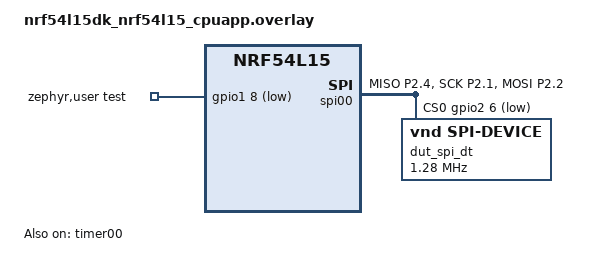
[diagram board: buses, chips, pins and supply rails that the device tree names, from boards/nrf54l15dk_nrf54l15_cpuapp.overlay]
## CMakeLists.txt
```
#
# Copyright (c) 2025 Nordic Semiconductor ASA
#
# SPDX-License-Identifier: LicenseRef-Nordic-5-Clause
#

cmake_minimum_required(VERSION 3.20.0)

find_package(Zephyr REQUIRED HINTS $ENV{ZEPHYR_BASE})

project(spim_mosi_toggles)

target_sources(app PRIVATE src/main.c)
```

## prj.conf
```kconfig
CONFIG_SPI=y
CONFIG_GPIO=y
CONFIG_NRFX_GPPI=y
CONFIG_NRFX_TIMER=y
CONFIG_LOG=y
```

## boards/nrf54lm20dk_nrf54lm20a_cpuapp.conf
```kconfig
CONFIG_NRFX_TIMER00=y
```

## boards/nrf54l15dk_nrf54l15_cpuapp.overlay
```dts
/*
 * Copyright (c) 2025 Nordic Semiconductor ASA
 *
 * SPDX-License-Identifier: LicenseRef-Nordic-5-Clause
 */

/* Test requires wire connection:
 *  - SPIM_MOSI with test-gpios -> P2.2 - P1.8.
 */

/ {
	zephyr,user {
		test-gpios = <&gpio1 8 GPIO_ACTIVE_LOW>;
	};
};

&pinctrl {
	spi00_default_alt: spi00_default_alt {
		group1 {
			psels = <NRF_PSEL(SPIM_MISO, 2, 4)>;
		};

		group2 {
			psels = <NRF_PSEL(SPIM_SCK, 2, 1)>,
				<NRF_PSEL(SPIM_MOSI, 2, 2)>;
			nordic,drive-mode = <NRF_DRIVE_E0E1>;
		};
	};

	spi00_sleep_alt: spi00_sleep_alt {
		group1 {
			psels = <NRF_PSEL(SPIM_SCK, 2, 1)>,
				<NRF_PSEL(SPIM_MISO, 2, 4)>,
				<NRF_PSEL(SPIM_MOSI, 2, 2)>;
			low-power-enable;
		};
	};
};

&gpio1 {
	status = "okay";
};

&gpio2 {
	status = "okay";
};

&timer00 {
	status = "okay";
};

/delete-node/ &mx25r64;

&spi00 {
	status = "okay";
	pinctrl-0 = <&spi00_default_alt>;
	pinctrl-1 = <&spi00_sleep_alt>;
	pinctrl-names = "default", "sleep";
	overrun-character = <0x00>;
	cs-gpios = <&gpio2 6 GPIO_ACTIVE_LOW>;
	zephyr,pm-device-runtime-auto;

	dut_spi_dt: test-spi-dev@0 {
		compatible = "vnd,spi-device";
		reg = <0>;
		spi-max-frequency = <1280000>;
	};
};
```

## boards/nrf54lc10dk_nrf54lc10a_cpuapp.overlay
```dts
/*
 * Copyright (c) 2026 Nordic Semiconductor ASA
 *
 * SPDX-License-Identifier: LicenseRef-Nordic-5-Clause
 */

/* Test requires wire connection:
 *  - SPIM_MOSI with test-gpios -> P1.03 - P1.04.
 * (Pins chosen to avoid DK buttons and LEDs on nRF54LC10 DK.)
 */

/ {
	zephyr,user {
		test-gpios = <&gpio1 0 GPIO_ACTIVE_LOW>;
	};
};

&pinctrl {
	spi21_default: spi21_default {
		group1 {
			psels = <NRF_PSEL(SPIM_SCK, 1, 11)>,
				<NRF_PSEL(SPIM_MISO, 1, 8)>,
				<NRF_PSEL(SPIM_MOSI, 1, 1)>;
		};
	};

	spi21_sleep: spi21_sleep {
		group1 {
			psels = <NRF_PSEL(SPIM_SCK, 1, 11)>,
				<NRF_PSEL(SPIM_MISO, 1, 8)>,
				<NRF_PSEL(SPIM_MOSI, 1, 1)>;
			low-power-enable;
		};
	};
};

&gpio1 {
	status = "okay";
};

&timer00 {
	status = "okay";
};

&spi21 {
	status = "okay";
	pinctrl-0 = <&spi21_default>;
	pinctrl-1 = <&spi21_sleep>;
	pinctrl-names = "default", "sleep";
	overrun-character = <0x00>;
	cs-gpios = <&gpio1 2 GPIO_ACTIVE_LOW>;
	zephyr,pm-device-runtime-auto;

	dut_spi_dt: test-spi-dev@0 {
		compatible = "vnd,spi-device";
		reg = <0>;
		spi-max-frequency = <DT_FREQ_M(1)>;
	};
};
```

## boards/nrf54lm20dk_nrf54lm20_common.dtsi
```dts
/*
 * Copyright (c) 2026 Nordic Semiconductor ASA
 *
 * SPDX-License-Identifier: LicenseRef-Nordic-5-Clause
 */

/* Test requires wire connection:
 *  - SPIM_MOSI with test-gpios -> P2.8 - P3.0.
 *  - Disable External Memory in NRF Connect for Desktop -> Board Configurator
 */

/ {
	zephyr,user {
		test-gpios = <&gpio3 0 GPIO_ACTIVE_LOW>;
	};
};

&pinctrl {
	spi00_default_alt: spi00_default_alt {
		group1 {
			psels = <NRF_PSEL(SPIM_MISO, 2, 4)>;
		};

		group2 {
			psels = <NRF_PSEL(SPIM_SCK, 2, 1)>,
				<NRF_PSEL(SPIM_MOSI, 2, 8)>;
			nordic,drive-mode = <NRF_DRIVE_E0E1>;
		};
	};

	spi00_sleep_alt: spi00_sleep_alt {
		group1 {
			psels = <NRF_PSEL(SPIM_SCK, 2, 1)>,
				<NRF_PSEL(SPIM_MISO, 2, 4)>,
				<NRF_PSEL(SPIM_MOSI, 2, 8)>;
			low-power-enable;
		};
	};
};

&gpio2 {
	status = "okay";
};

&gpio3 {
	status = "okay";
};

&timer00 {
	status = "okay";
};

/delete-node/ &mx25r64;

&spi00 {
	status = "okay";
	pinctrl-0 = <&spi00_default_alt>;
	pinctrl-1 = <&spi00_sleep_alt>;
	pinctrl-names = "default", "sleep";
	overrun-character = <0x00>;
	cs-gpios = <&gpio2 6 GPIO_ACTIVE_LOW>;
	zephyr,pm-device-runtime-auto;

	dut_spi_dt: test-spi-dev@0 {
		compatible = "vnd,spi-device";
		reg = <0>;
		spi-max-frequency = <1280000>;
	};
};
```

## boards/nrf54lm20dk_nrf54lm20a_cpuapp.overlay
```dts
/*
 * Copyright (c) 2025 Nordic Semiconductor ASA
 *
 * SPDX-License-Identifier: LicenseRef-Nordic-5-Clause
 */

/* Test requires wire connection:
 *  - SPIM_MOSI with test-gpios -> P2.2 - P1.8.
 *  - Disable External Memory in NRF Connect for Desktop -> Board Configurator
 */

/ {
	zephyr,user {
		test-gpios = <&gpio1 8 GPIO_ACTIVE_LOW>;
	};
};

&pinctrl {
	spi00_default_alt: spi00_default_alt {
		group1 {
			psels = <NRF_PSEL(SPIM_MISO, 2, 4)>;
		};

		group2 {
			psels = <NRF_PSEL(SPIM_SCK, 2, 1)>,
				<NRF_PSEL(SPIM_MOSI, 2, 2)>;
			nordic,drive-mode = <NRF_DRIVE_E0E1>;
		};
	};

	spi00_sleep_alt: spi00_sleep_alt {
		group1 {
			psels = <NRF_PSEL(SPIM_SCK, 2, 1)>,
				<NRF_PSEL(SPIM_MISO, 2, 4)>,
				<NRF_PSEL(SPIM_MOSI, 2, 2)>;
			low-power-enable;
		};
	};
};

&gpio1 {
	status = "okay";
};

&gpio2 {
	status = "okay";
};

&timer00 {
	status = "okay";
};

/delete-node/ &mx25r64;

&spi00 {
	status = "okay";
	pinctrl-0 = <&spi00_default_alt>;
	pinctrl-1 = <&spi00_sleep_alt>;
	pinctrl-names = "default", "sleep";
	overrun-character = <0x00>;
	cs-gpios = <&gpio2 6 GPIO_ACTIVE_LOW>;
	zephyr,pm-device-runtime-auto;

	dut_spi_dt: test-spi-dev@0 {
		compatible = "vnd,spi-device";
		reg = <0>;
		spi-max-frequency = <1280000>;
	};
};
```

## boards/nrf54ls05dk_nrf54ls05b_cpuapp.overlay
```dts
/*
 * Copyright (c) 2025 Nordic Semiconductor ASA
 *
 * SPDX-License-Identifier: LicenseRef-Nordic-5-Clause
 */

/* Test requires wire connection:
 *  - SPIM_MOSI with test-gpios -> P1.06 - P1.22.
 */

/ {
	zephyr,user {
		test-gpios = <&gpio1 22 GPIO_ACTIVE_LOW>;
	};
};

&pinctrl {
	spi21_default: spi21_default {
		group1 {
			psels = <NRF_PSEL(SPIM_SCK, 1, 4)>,
				<NRF_PSEL(SPIM_MISO, 1, 5)>,
				<NRF_PSEL(SPIM_MOSI, 1, 6)>;
		};
	};

	spi21_sleep: spi21_sleep {
		group1 {
			psels = <NRF_PSEL(SPIM_SCK, 1, 4)>,
				<NRF_PSEL(SPIM_MISO, 1, 5)>,
				<NRF_PSEL(SPIM_MOSI, 1, 6)>;
			low-power-enable;
		};
	};
};

&gpio1 {
	status = "okay";
};

&timer00 {
	status = "okay";
};

&spi21 {
	status = "okay";
	pinctrl-0 = <&spi21_default>;
	pinctrl-1 = <&spi21_sleep>;
	pinctrl-names = "default", "sleep";
	overrun-character = <0x00>;
	cs-gpios = <&gpio1 8 GPIO_ACTIVE_LOW>;
	zephyr,pm-device-runtime-auto;

	dut_spi_dt: test-spi-dev@0 {
		compatible = "vnd,spi-device";
		reg = <0>;
		spi-max-frequency = <DT_FREQ_M(1)>;
	};
};
```

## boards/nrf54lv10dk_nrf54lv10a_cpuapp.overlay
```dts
/*
 * Copyright (c) 2025 Nordic Semiconductor ASA
 *
 * SPDX-License-Identifier: LicenseRef-Nordic-5-Clause
 */

/* Test requires wire connection:
 *  - SPIM_MOSI with test-gpios -> P1.0 - P1.1.
 */

/ {
	zephyr,user {
		test-gpios = <&gpio1 0 GPIO_ACTIVE_LOW>;
	};
};

&pinctrl {
	spi21_default: spi21_default {
		group1 {
			psels = <NRF_PSEL(SPIM_SCK, 1, 11)>,
				<NRF_PSEL(SPIM_MISO, 1, 8)>,
				<NRF_PSEL(SPIM_MOSI, 1, 1)>;
		};
	};

	spi21_sleep: spi21_sleep {
		group1 {
			psels = <NRF_PSEL(SPIM_SCK, 1, 11)>,
				<NRF_PSEL(SPIM_MISO, 1, 8)>,
				<NRF_PSEL(SPIM_MOSI, 1, 1)>;
			low-power-enable;
		};
	};
};

&gpio1 {
	status = "okay";
};

&timer00 {
	status = "okay";
};

&spi21 {
	status = "okay";
	pinctrl-0 = <&spi21_default>;
	pinctrl-1 = <&spi21_sleep>;
	pinctrl-names = "default", "sleep";
	overrun-character = <0x00>;
	cs-gpios = <&gpio1 2 GPIO_ACTIVE_LOW>;
	zephyr,pm-device-runtime-auto;

	dut_spi_dt: test-spi-dev@0 {
		compatible = "vnd,spi-device";
		reg = <0>;
		spi-max-frequency = <DT_FREQ_M(1)>;
	};
};
```

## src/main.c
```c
/*
 * Copyright (c) 2025 Nordic Semiconductor ASA
 *
 * SPDX-License-Identifier: LicenseRef-Nordic-5-Clause
 */

#include <zephyr/logging/log.h>
LOG_MODULE_REGISTER(spim_mosi_toggles, LOG_LEVEL_INF);

#include <zephyr/kernel.h>
#include <zephyr/drivers/gpio.h>
#include <helpers/nrfx_gppi.h>
#include <nrfx_timer.h>
#include <nrfx_gpiote.h>
#include <gpiote_nrfx.h>
#include <zephyr/drivers/spi.h>
#include <dmm.h>

/* Number of bytes transmitted in single transaction. */
#define TEST_DATA_SIZE 6

#define SPI_MODE (SPI_OP_MODE_CONTROLLER | SPI_WORD_SET(8) | SPI_LINES_SINGLE | SPI_TRANSFER_MSB)

static struct spi_dt_spec spim_spec = SPI_DT_SPEC_GET(DT_NODELABEL(dut_spi_dt), SPI_MODE);
static uint8_t spim_buffer[2 * TEST_DATA_SIZE] DMM_MEMORY_SECTION(DT_BUS(DT_NODELABEL(dut_spi_dt)));

/* Variables used to count edges on SPI MOSI line. */
#define CLOCK_INPUT_PIN	NRF_DT_GPIOS_TO_PSEL(DT_PATH(zephyr_user), test_gpios)

#if defined(NRF_TIMER00)
static nrfx_timer_t timer_instance = NRFX_TIMER_INSTANCE(NRF_TIMER00);
#elif defined(NRF_TIMER130)
static nrfx_timer_t timer_instance = NRFX_TIMER_INSTANCE(NRF_TIMER130);
#else
#error "No timer instance found"
#endif

static const uint32_t edges_exp = 6;

void timer_handler(nrf_timer_event_t event, void *p_context)
{
	ARG_UNUSED(event);
	ARG_UNUSED(p_context);
}

static void capture_callback(struct k_timer *timer)
{
	ARG_UNUSED(timer);
	nrfx_timer_capture(&timer_instance, NRF_TIMER_CC_CHANNEL0);
}

K_TIMER_DEFINE(capture_timer, capture_callback, NULL);

int main(void)
{
	int ret;

	/* SPI buffer sets */
	struct spi_buf tx_spi_buf = {.buf = &spim_buffer[0], .len = TEST_DATA_SIZE};
	struct spi_buf_set tx_spi_buf_set = {.buffers = &tx_spi_buf, .count = 1};

	struct spi_buf rx_spi_buf = {.buf = &spim_buffer[TEST_DATA_SIZE],
				     .len = TEST_DATA_SIZE};
	struct spi_buf_set rx_spi_buf_set = {.buffers = &rx_spi_buf, .count = 1};

	LOG_INF("SPIM MOSI toggling test on %s", CONFIG_BOARD_TARGET);
	LOG_INF("Testing SPIM device %s", spim_spec.bus->name);
	LOG_INF("%d bytes of data exchanged at once", TEST_DATA_SIZE);
	LOG_INF("Expect %d edges (both rising and falling) on MOSI line", edges_exp);
	LOG_INF("===================================================================");

	ret = spi_is_ready_dt(&spim_spec);
	if (!ret) {
		LOG_ERR("Error: SPI device is not ready");
		return -1;
	}

	/* Configure GPIOTE. */
	uint8_t gpiote_channel;
	nrfx_gpiote_t gpiote_instance =
		GPIOTE_NRFX_INST_BY_NODE(NRF_DT_GPIOTE_NODE(DT_PATH(zephyr_user), test_gpios));

	ret = nrfx_gpiote_channel_alloc(&gpiote_instance, &gpiote_channel);
	if (ret != 0) {
		LOG_ERR("nrfx_gpiote_channel_alloc(), err: %d", ret);
	}

	nrfx_gpiote_trigger_config_t trigger_cfg = {
		.p_in_channel = &gpiote_channel,
		.trigger = NRFX_GPIOTE_TRIGGER_TOGGLE,
	};

	nrf_gpio_pin_pull_t pull_cfg = NRFX_GPIOTE_DEFAULT_PULL_CONFIG;

	nrfx_gpiote_input_pin_config_t gpiote_cfg = {
		.p_pull_config = &pull_cfg,
		.p_trigger_config = &trigger_cfg,
	};

	ret = nrfx_gpiote_input_configure(&gpiote_instance, CLOCK_INPUT_PIN, &gpiote_cfg);
	if (ret != 0) {
		LOG_ERR("nrfx_gpiote_input_configure(), err: %d", ret);
	}

	nrfx_gpiote_trigger_enable(&gpiote_instance, CLOCK_INPUT_PIN, false);

	/* Configure Timer. */
	nrfx_timer_config_t timer_config = NRFX_TIMER_DEFAULT_CONFIG(
					   NRFX_TIMER_BASE_FREQUENCY_GET(&timer_instance));
	timer_config.bit_width = NRF_TIMER_BIT_WIDTH_32;
	timer_config.mode      = NRF_TIMER_MODE_COUNTER;

	ret = nrfx_timer_init(&timer_instance, &timer_config, timer_handler);
	if (ret != 0) {
		LOG_ERR("nrfx_timer_init(), err: %d", ret);
	}

	nrfx_timer_enable(&timer_instance);

	/* Configure GPPI from GPIOTE to Timer. */
	nrfx_gppi_handle_t gppi_handle;
	uint32_t eep = nrfx_gpiote_in_event_address_get(&gpiote_instance, CLOCK_INPUT_PIN);
	uint32_t tep = nrfx_timer_task_address_get(&timer_instance, NRF_TIMER_TASK_COUNT);

	ret = nrfx_gppi_conn_alloc(eep, tep, &gppi_handle);
	if (ret != 0) {
		LOG_ERR("GPPI channel allocation failed, err: %d", ret);
	}
	nrfx_gppi_conn_enable(gppi_handle);

	/* MLTPAN-21
	 * Set tx_data for current test. Test scenario reqires:
	 * SPIM00 or SPIM02 configured in SPI mode 0 (CPHA==0, CPOL==0).
	 * The first transmitted bit in the final byte is 1.
	 * The last transmitted bit in the final byte is 0.
	 * After changing the spim_buffer, align
	 * TEST_DATA_SIZE and edges_exp (count both edges).
	 */
	spim_buffer[0] = 0x0;
	spim_buffer[1] = 0xff;
	spim_buffer[2] = 0x0;
	spim_buffer[3] = 0xfe;
	spim_buffer[4] = 0x0;
	spim_buffer[5] = 0xfe;

	/* Enable the timer. */
	k_timer_start(&capture_timer, K_MSEC(1), K_NO_WAIT);

	/* Transmit data. */
	ret = spi_transceive_dt(&spim_spec, &tx_spi_buf_set, &rx_spi_buf_set);
	if (ret != 0) {
		LOG_ERR("spi_transceive_dt, err: %d", ret);
	}
	k_sleep(K_MSEC(200));

	uint32_t pulses = nrfx_timer_capture_get(&timer_instance, NRF_TIMER_CC_CHANNEL0);

	LOG_INF("MOSI edges: %u", pulses);

	if (pulses == edges_exp) {
		LOG_INF("Test passed");
	} else {
		LOG_INF("Test failed - found %u edges while %u are expected",
			pulses, edges_exp);
	}

	return 0;
}
```
